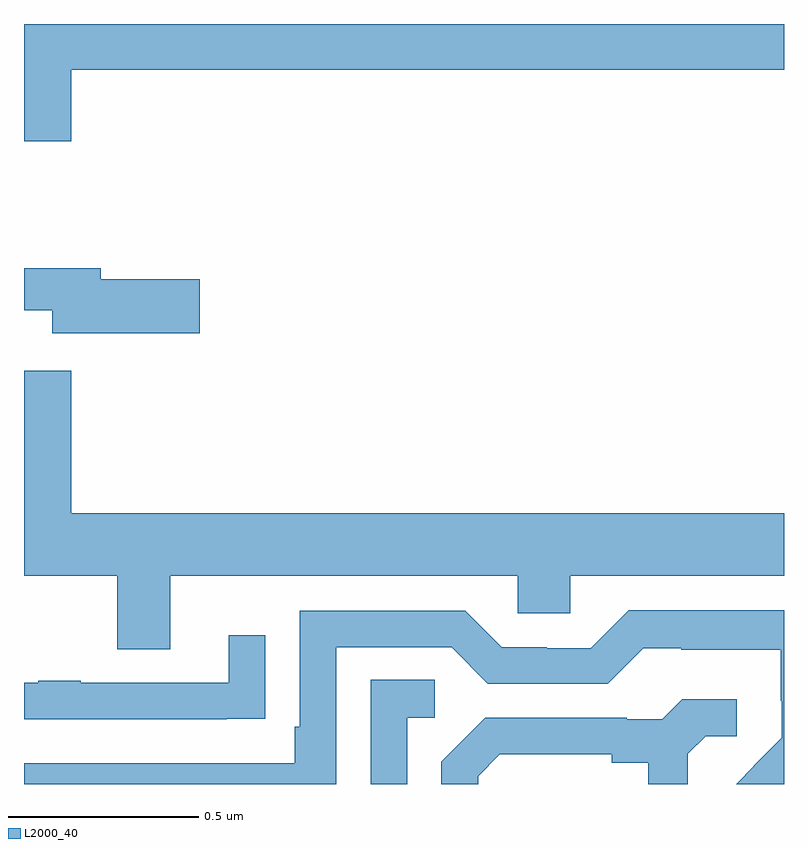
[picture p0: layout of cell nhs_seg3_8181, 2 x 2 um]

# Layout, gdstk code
import gdstk
lib = gdstk.Library(unit=1e-6, precision=1e-09)
def P(c, l, *ps):  # polygons
    for p in ps: c.add(gdstk.Polygon(p, *l))
L2000_40 = (2000, 40)

nhs_seg3_8181 = lib.new_cell('nhs_seg3_8181')
P(nhs_seg3_8181, L2000_40, [(215,670.4),(213,670.4),(213,670.092),(213.124,670.092),(213.124,670.28),(215,670.28)],
  [(213.463,669.728),(213.202,669.728),(213.202,669.757),(213,669.757),(213,669.647),(213.074,669.647),(213.074,669.586),(213.463,669.586)],
  [(213.385,668.948),(214.299,668.948),(214.299,668.85),(214.437,668.85),(214.437,668.948),(215,668.948),(215,669.112),(213.124,669.112),(213.124,669.487),(213,669.487),(213,668.948),(213.245,668.948),(213.245,668.754),(213.385,668.754)],
  [(213.822,668.76),(214.125,668.76),(214.221,668.664),(214.536,668.664),(214.629,668.757),(214.729,668.757),(214.729,668.753),(214.992,668.753),(214.992,668.619),(214.994,668.619),(214.994,668.522),(214.92,668.448),(214.921,668.447),(214.874,668.4),(215,668.4),(215,668.857),(214.591,668.857),(214.491,668.757),(214.376,668.757),(214.376,668.76),(214.257,668.76),(214.161,668.856),(213.726,668.856),(213.726,668.551),(213.713,668.551),(213.713,668.454),(213,668.454),(213,668.4),(213.822,668.4)],
  [(213.533,668.572),(213.635,668.572),(213.635,668.791),(213.539,668.791),(213.539,668.667),(213.149,668.667),(213.149,668.672),(213.037,668.672),(213.037,668.667),(213,668.667),(213,668.571),(213.533,668.571)],
  [(214.008,668.574),(214.081,668.574),(214.081,668.675),(213.912,668.675),(213.912,668.4),(214.008,668.4)],
  [(214.195,668.421),(214.252,668.478),(214.547,668.478),(214.547,668.456),(214.643,668.456),(214.643,668.4),(214.747,668.4),(214.747,668.479),(214.794,668.526),(214.876,668.526),(214.876,668.623),(214.732,668.623),(214.68,668.571),(214.586,668.571),(214.586,668.574),(214.214,668.574),(214.098,668.458),(214.098,668.4),(214.195,668.4)])

lib.write_gds('nhs_seg3_8181.gds')
